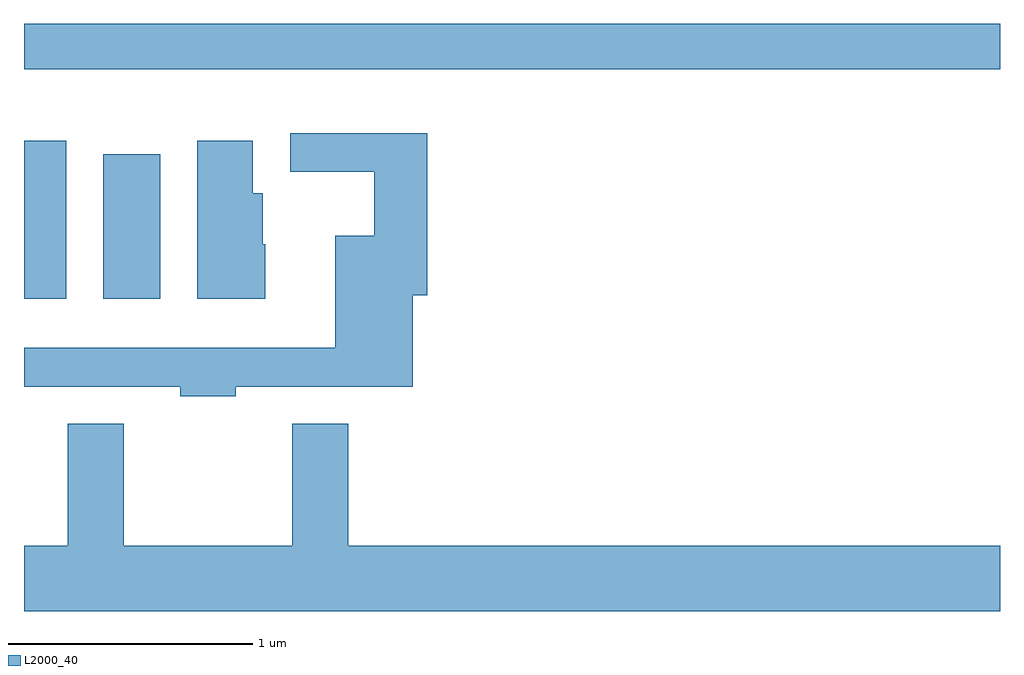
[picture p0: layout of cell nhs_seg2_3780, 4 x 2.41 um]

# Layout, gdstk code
import gdstk
lib = gdstk.Library(unit=1e-6, precision=1e-09)
def R(c, l, rs):  # rectangles x0, y0, x1, y1
    for r in rs: c.add(gdstk.rectangle(r[:2], r[2:], *l))
def P(c, l, *ps):  # polygons
    for p in ps: c.add(gdstk.Polygon(p, *l))
L2000_40 = (2000, 40)

nhs_seg2_3780 = lib.new_cell('nhs_seg2_3780')
R(nhs_seg2_3780, L2000_40, [(295.611,1080.676,295.784,1081.324), (295.936,1080.676,296.169,1081.269), (295.611,1081.616,299.611,1081.802)])
P(nhs_seg2_3780, L2000_40, [(296.479,1080.316),(297.204,1080.316),(297.204,1080.691),(297.264,1080.691),(297.264,1081.354),(296.703,1081.354),(296.703,1081.196),(297.046,1081.196),(297.046,1080.934),(296.886,1080.934),(296.886,1080.474),(295.611,1080.474),(295.611,1080.316),(296.251,1080.316),(296.251,1080.276),(296.479,1080.276)],
  [(296.599,1080.9),(296.589,1080.9),(296.589,1081.109),(296.549,1081.109),(296.549,1081.324),(296.321,1081.324),(296.321,1080.676),(296.599,1080.676)],
  [(299.611,1079.664),(296.939,1079.664),(296.939,1080.164),(296.711,1080.164),(296.711,1079.664),(296.019,1079.664),(296.019,1080.164),(295.791,1080.164),(295.791,1079.664),(295.611,1079.664),(295.611,1079.396),(299.611,1079.396)])

lib.write_gds('nhs_seg2_3780.gds')
